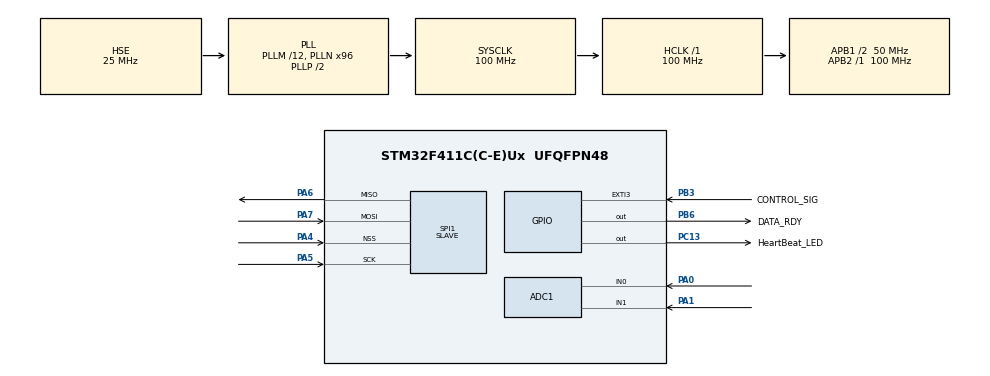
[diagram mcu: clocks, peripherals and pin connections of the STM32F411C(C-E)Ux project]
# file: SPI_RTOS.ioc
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ADC1.Channel-0\#ChannelRegularConversion=ADC_CHANNEL_0
ADC1.Channel-1\#ChannelRegularConversion=ADC_CHANNEL_1
ADC1.ContinuousConvMode=DISABLE
ADC1.DMAContinuousRequests=ENABLE
ADC1.ExternalTrigConv=ADC_EXTERNALTRIGCONV_T3_TRGO
ADC1.NbrOfConversion=2
ADC1.NbrOfConversionFlag=1
ADC1.Rank-0\#ChannelRegularConversion=1
ADC1.Rank-1\#ChannelRegularConversion=2
ADC1.SamplingTime-0\#ChannelRegularConversion=ADC_SAMPLETIME_15CYCLES
ADC1.SamplingTime-1\#ChannelRegularConversion=ADC_SAMPLETIME_15CYCLES
ADC1.master=1
Dma.ADC1.0.Direction=DMA_PERIPH_TO_MEMORY
Dma.ADC1.0.FIFOMode=DMA_FIFOMODE_DISABLE
Dma.ADC1.0.Instance=DMA2_Stream0
Dma.ADC1.0.MemDataAlignment=DMA_MDATAALIGN_HALFWORD
Dma.ADC1.0.MemInc=DMA_MINC_ENABLE
Dma.ADC1.0.Mode=DMA_CIRCULAR
Dma.ADC1.0.PeriphDataAlignment=DMA_PDATAALIGN_HALFWORD
Dma.ADC1.0.PeriphInc=DMA_PINC_DISABLE
Dma.ADC1.0.Priority=DMA_PRIORITY_VERY_HIGH
Dma.Request0=ADC1
Dma.Request1=SPI1_TX
Dma.SPI1_TX.1.Direction=DMA_MEMORY_TO_PERIPH
Dma.SPI1_TX.1.FIFOMode=DMA_FIFOMODE_DISABLE
Dma.SPI1_TX.1.Instance=DMA2_Stream2
Dma.SPI1_TX.1.MemDataAlignment=DMA_MDATAALIGN_HALFWORD
Dma.SPI1_TX.1.MemInc=DMA_MINC_ENABLE
Dma.SPI1_TX.1.Mode=DMA_NORMAL
Dma.SPI1_TX.1.PeriphDataAlignment=DMA_PDATAALIGN_HALFWORD
Dma.SPI1_TX.1.PeriphInc=DMA_PINC_DISABLE
Dma.SPI1_TX.1.Priority=DMA_PRIORITY_VERY_HIGH
FREERTOS.BinarySemaphores01=SpiTxSem,Dynamic,NULL,Available;EXTISem,Dynamic,NULL,Available
FREERTOS.Mutexes01=FlagKeyMtx,Dynamic,NULL,Available
FREERTOS.Tasks01=SPI_TRANS_TASK,40,128,StartDefaultTask,Default,NULL,Dynamic,NULL,NULL;CONTROL_TASK,32,128,Control_Mode,Default,NULL,Dynamic,NULL,NULL
FREERTOS.configUSE_NEWLIB_REENTRANT=1
Mcu.Family=STM32F4
Mcu.Name=STM32F411C(C-E)Ux
Mcu.Package=UFQFPN48
NVIC.ADC_IRQn=true\:5\:0\:false\:false\:true\:true\:true\:true\:true
NVIC.DMA2_Stream0_IRQn=true\:5\:0\:false\:false\:true\:true\:false\:true\:true
NVIC.DMA2_Stream2_IRQn=true\:5\:0\:false\:false\:true\:true\:false\:true\:true
NVIC.EXTI3_IRQn=true\:5\:0\:false\:false\:true\:true\:true\:true\:true
NVIC.PriorityGroup=NVIC_PRIORITYGROUP_4
NVIC.SPI1_IRQn=true\:5\:0\:false\:false\:true\:true\:true\:true\:true
NVIC.TIM1_TRG_COM_TIM11_IRQn=true\:15\:0\:false\:false\:true\:false\:false\:true\:true
NVIC.TIM3_IRQn=true\:5\:0\:false\:false\:true\:true\:true\:true\:true
NVIC.TimeBase=TIM1_TRG_COM_TIM11_IRQn
NVIC.TimeBaseIP=TIM11
PA0-WKUP.Signal=ADCx_IN0
PA1.Signal=ADCx_IN1
PA13.Mode=Serial_Wire
PA13.Signal=SYS_JTMS-SWDIO
PA14.Mode=Serial_Wire
PA14.Signal=SYS_JTCK-SWCLK
PA4.Mode=NSS_Signal_Hard_Input
PA4.Signal=SPI1_NSS
PA5.Mode=Full_Duplex_Slave
PA5.Signal=SPI1_SCK
PA6.Mode=Full_Duplex_Slave
PA6.Signal=SPI1_MISO
PA7.Mode=Full_Duplex_Slave
PA7.Signal=SPI1_MOSI
PB3.GPIO_Label=CONTROL_SIG
PB3.GPIO_ModeDefaultEXTI=GPIO_MODE_IT_FALLING
PB3.GPIO_PuPd=GPIO_PULLUP
PB3.Signal=GPXTI3
PB6.GPIO_Label=DATA_RDY
PB6.GPIO_PuPd=GPIO_PULLDOWN
PB6.Signal=GPIO_Output
PC13-ANTI_TAMP.GPIO_Label=HeartBeat_LED
PC13-ANTI_TAMP.GPIO_PuPd=GPIO_PULLUP
PC13-ANTI_TAMP.Signal=GPIO_Output
PH0\ -\ OSC_IN.Mode=HSE-External-Oscillator
PH0\ -\ OSC_IN.Signal=RCC_OSC_IN
PH1\ -\ OSC_OUT.Mode=HSE-External-Oscillator
PH1\ -\ OSC_OUT.Signal=RCC_OSC_OUT
ProjectManager.HeapSize=0x200
ProjectManager.StackSize=0x400
ProjectManager.TargetToolchain=STM32CubeIDE
RCC.48MHZClocksFreq_Value=50000000
RCC.AHBFreq_Value=100000000
RCC.APB1CLKDivider=RCC_HCLK_DIV2
RCC.APB1Freq_Value=50000000
RCC.APB1TimFreq_Value=100000000
RCC.APB2Freq_Value=100000000
RCC.APB2TimFreq_Value=100000000
RCC.CortexFreq_Value=100000000
RCC.HCLKFreq_Value=100000000
RCC.HSE_VALUE=25000000
RCC.HSI_VALUE=16000000
RCC.LSE_VALUE=32768
RCC.PLLM=12
RCC.PLLN=96
RCC.PLLSourceVirtual=RCC_PLLSOURCE_HSE
RCC.SYSCLKFreq_VALUE=100000000
RCC.SYSCLKSource=RCC_SYSCLKSOURCE_PLLCLK
RCC.VCOOutputFreq_Value=200000000
SH.ADCx_IN0.0=ADC1_IN0,IN0
SH.ADCx_IN1.0=ADC1_IN1,IN1
SPI1.DataSize=SPI_DATASIZE_16BIT
SPI1.Direction=SPI_DIRECTION_2LINES
SPI1.Mode=SPI_MODE_SLAVE
SPI1.VirtualNSS=VM_NSSHARD
SPI1.VirtualType=VM_SLAVE
TIM3.Period=249
TIM3.TIM_MasterOutputTrigger=TIM_TRGO_UPDATE
VP_FREERTOS_VS_CMSIS_V2.Mode=CMSIS_V2
VP_SYS_VS_tim11.Mode=TIM11
VP_TIM3_VS_ClockSourceINT.Mode=Internal
board=custom

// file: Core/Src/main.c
/* USER CODE BEGIN Header */
/**
  ******************************************************************************
  * @file           : main.c
  * @brief          : Main program body
  ******************************************************************************
  * @attention
  *
  * Copyright (c) 2026 STMicroelectronics.
  * All rights reserved.
  *
  * This software is licensed under terms that can be found in the LICENSE file
  * in the root directory of this software component.
  * If no LICENSE file comes with this software, it is provided AS-IS.
  *
  ******************************************************************************
  */
/* USER CODE END Header */
#include "main.h"
#include "cmsis_os.h"

/* USER CODE BEGIN Includes */
#include "adc_set_mode.h"

/* USER CODE END Includes */

/* USER CODE BEGIN PD */
#define BUFFER_SIZE 4096 //ADC BUFFER SIZE
#define HALF_BUFFER_SIZE BUFFER_SIZE/2 //ADC BUFFER HALF SIZE
/* USER CODE END PD */

ADC_HandleTypeDef hadc1;
DMA_HandleTypeDef hdma_adc1;

SPI_HandleTypeDef hspi1;
DMA_HandleTypeDef hdma_spi1_tx;

TIM_HandleTypeDef htim3;

/* Definitions for SPI_TRANS_TASK */
osThreadId_t SPI_TRANS_TASKHandle;
const osThreadAttr_t SPI_TRANS_TASK_attributes = {
  .name = "SPI_TRANS_TASK",
  .stack_size = 128 * 4,
  .priority = (osPriority_t) osPriorityHigh,
};
/* Definitions for CONTROL_TASK */
osThreadId_t CONTROL_TASKHandle;
const osThreadAttr_t CONTROL_TASK_attributes = {
  .name = "CONTROL_TASK",
  .stack_size = 128 * 4,
  .priority = (osPriority_t) osPriorityAboveNormal,
};
/* Definitions for FlagKeyMtx */
osMutexId_t FlagKeyMtxHandle;
const osMutexAttr_t FlagKeyMtx_attributes = {
  .name = "FlagKeyMtx"
};
/* Definitions for SpiTxSem */
osSemaphoreId_t SpiTxSemHandle;
const osSemaphoreAttr_t SpiTxSem_attributes = {
  .name = "SpiTxSem"
};
/* Definitions for EXTISem */
osSemaphoreId_t EXTISemHandle;
const osSemaphoreAttr_t EXTISem_attributes = {
  .name = "EXTISem"
};
/* USER CODE BEGIN PV */
uint16_t buffer [BUFFER_SIZE]; //ADC BUFFER
volatile SPI_Transfer_Mode_t spi_transfer_flag = READY_STATUS;
uint16_t spi_status = 0; //for debug
/* USER CODE END PV */

void SystemClock_Config(void);
static void MX_GPIO_Init(void);
static void MX_DMA_Init(void);
static void MX_ADC1_Init(void);
static void MX_SPI1_Init(void);
static void MX_TIM3_Init(void);
void StartDefaultTask(void *argument);
void Control_Mode(void *argument);

int main(void)
{

  /* MCU Configuration--------------------------------------------------------*/

  /* Reset of all peripherals, Initializes the Flash interface and the Systick. */
  HAL_Init();

  /* Configure the system clock */
  SystemClock_Config();

  /* Initialize all configured peripherals */
  MX_GPIO_Init();
  MX_DMA_Init();
  MX_ADC1_Init();
  MX_SPI1_Init();
  MX_TIM3_Init();
  /* USER CODE BEGIN 2 */
  HAL_TIM_Base_Start(&htim3);
  HAL_GPIO_WritePin(HeartBeat_LED_GPIO_Port, HeartBeat_LED_Pin, GPIO_PIN_SET);
  HAL_GPIO_WritePin(DATA_RDY_GPIO_Port, DATA_RDY_Pin, GPIO_PIN_RESET);

  /* USER CODE END 2 */

  /* Init scheduler */
  osKernelInitialize();
  /* Create the mutex(es) */
  /* creation of FlagKeyMtx */
  FlagKeyMtxHandle = osMutexNew(&FlagKeyMtx_attributes);

  /* Create the semaphores(s) */
  /* creation of SpiTxSem */
  SpiTxSemHandle = osSemaphoreNew(1, 1, &SpiTxSem_attributes);

  /* creation of EXTISem */
  EXTISemHandle = osSemaphoreNew(1, 1, &EXTISem_attributes);

  /* Create the thread(s) */
  /* creation of SPI_TRANS_TASK */
  SPI_TRANS_TASKHandle = osThreadNew(StartDefaultTask, NULL, &SPI_TRANS_TASK_attributes);

  /* creation of CONTROL_TASK */
  CONTROL_TASKHandle = osThreadNew(Control_Mode, NULL, &CONTROL_TASK_attributes);

  /* Start scheduler */
  osKernelStart();

  /* We should never get here as control is now taken by the scheduler */

  /* Infinite loop */
  while (1)
  {

  }
}

void SystemClock_Config(void)
{
  RCC_OscInitTypeDef RCC_OscInitStruct = {0};
  RCC_ClkInitTypeDef RCC_ClkInitStruct = {0};

  /** Configure the main internal regulator output voltage
  */
  __HAL_RCC_PWR_CLK_ENABLE();
  __HAL_PWR_VOLTAGESCALING_CONFIG(PWR_REGULATOR_VOLTAGE_SCALE1);

  /** Initializes the RCC Oscillators according to the specified parameters
  * in the RCC_OscInitTypeDef structure.
  */
  RCC_OscInitStruct.OscillatorType = RCC_OSCILLATORTYPE_HSE;
  RCC_OscInitStruct.HSEState = RCC_HSE_ON;
  RCC_OscInitStruct.PLL.PLLState = RCC_PLL_ON;
  RCC_OscInitStruct.PLL.PLLSource = RCC_PLLSOURCE_HSE;
  RCC_OscInitStruct.PLL.PLLM = 12;
  RCC_OscInitStruct.PLL.PLLN = 96;
  RCC_OscInitStruct.PLL.PLLP = RCC_PLLP_DIV2;
  RCC_OscInitStruct.PLL.PLLQ = 4;
  if (HAL_RCC_OscConfig(&RCC_OscInitStruct) != HAL_OK)
  {
    Error_Handler();
  }

  /** Initializes the CPU, AHB and APB buses clocks
  */
  RCC_ClkInitStruct.ClockType = RCC_CLOCKTYPE_HCLK|RCC_CLOCKTYPE_SYSCLK
                              |RCC_CLOCKTYPE_PCLK1|RCC_CLOCKTYPE_PCLK2;
  RCC_ClkInitStruct.SYSCLKSource = RCC_SYSCLKSOURCE_PLLCLK;
  RCC_ClkInitStruct.AHBCLKDivider = RCC_SYSCLK_DIV1;
  RCC_ClkInitStruct.APB1CLKDivider = RCC_HCLK_DIV2;
  RCC_ClkInitStruct.APB2CLKDivider = RCC_HCLK_DIV1;

  if (HAL_RCC_ClockConfig(&RCC_ClkInitStruct, FLASH_LATENCY_3) != HAL_OK)
  {
    Error_Handler();
  }
}

static void MX_ADC1_Init(void)
{

  ADC_ChannelConfTypeDef sConfig = {0};

  /** Configure the global features of the ADC (Clock, Resolution, Data Alignment and number of conversion)
  */
  hadc1.Instance = ADC1;
  hadc1.Init.ClockPrescaler = ADC_CLOCK_SYNC_PCLK_DIV4;
  hadc1.Init.Resolution = ADC_RESOLUTION_12B;
  hadc1.Init.ScanConvMode = ENABLE;
  hadc1.Init.ContinuousConvMode = DISABLE;
  hadc1.Init.DiscontinuousConvMode = DISABLE;
  hadc1.Init.ExternalTrigConvEdge = ADC_EXTERNALTRIGCONVEDGE_RISING;
  hadc1.Init.ExternalTrigConv = ADC_EXTERNALTRIGCONV_T3_TRGO;
  hadc1.Init.DataAlign = ADC_DATAALIGN_RIGHT;
  hadc1.Init.NbrOfConversion = 2;
  hadc1.Init.DMAContinuousRequests = ENABLE;
  hadc1.Init.EOCSelection = ADC_EOC_SINGLE_CONV;
  if (HAL_ADC_Init(&hadc1) != HAL_OK)
  {
    Error_Handler();
  }

  /** Configure for the selected ADC regular channel its corresponding rank in the sequencer and its sample time.
  */
  sConfig.Channel = ADC_CHANNEL_0;
  sConfig.Rank = 1;
  sConfig.SamplingTime = ADC_SAMPLETIME_15CYCLES;
  if (HAL_ADC_ConfigChannel(&hadc1, &sConfig) != HAL_OK)
  {
    Error_Handler();
  }

  /** Configure for the selected ADC regular channel its corresponding rank in the sequencer and its sample time.
  */
  sConfig.Channel = ADC_CHANNEL_1;
  sConfig.Rank = 2;
  if (HAL_ADC_ConfigChannel(&hadc1, &sConfig) != HAL_OK)
  {
    Error_Handler();
  }

}

static void MX_SPI1_Init(void)
{

  /* SPI1 parameter configuration*/
  hspi1.Instance = SPI1;
  hspi1.Init.Mode = SPI_MODE_SLAVE;
  hspi1.Init.Direction = SPI_DIRECTION_2LINES;
  hspi1.Init.DataSize = SPI_DATASIZE_16BIT;
  hspi1.Init.CLKPolarity = SPI_POLARITY_LOW;
  hspi1.Init.CLKPhase = SPI_PHASE_1EDGE;
  hspi1.Init.NSS = SPI_NSS_HARD_INPUT;
  hspi1.Init.FirstBit = SPI_FIRSTBIT_MSB;
  hspi1.Init.TIMode = SPI_TIMODE_DISABLE;
  hspi1.Init.CRCCalculation = SPI_CRCCALCULATION_DISABLE;
  hspi1.Init.CRCPolynomial = 10;
  if (HAL_SPI_Init(&hspi1) != HAL_OK)
  {
    Error_Handler();
  }

}

static void MX_TIM3_Init(void)
{

  TIM_ClockConfigTypeDef sClockSourceConfig = {0};
  TIM_MasterConfigTypeDef sMasterConfig = {0};

  htim3.Instance = TIM3;
  htim3.Init.Prescaler = 0;
  htim3.Init.CounterMode = TIM_COUNTERMODE_UP;
  htim3.Init.Period = 249;
  htim3.Init.ClockDivision = TIM_CLOCKDIVISION_DIV1;
  htim3.Init.AutoReloadPreload = TIM_AUTORELOAD_PRELOAD_DISABLE;
  if (HAL_TIM_Base_Init(&htim3) != HAL_OK)
  {
    Error_Handler();
  }
  sClockSourceConfig.ClockSource = TIM_CLOCKSOURCE_INTERNAL;
  if (HAL_TIM_ConfigClockSource(&htim3, &sClockSourceConfig) != HAL_OK)
  {
    Error_Handler();
  }
  sMasterConfig.MasterOutputTrigger = TIM_TRGO_UPDATE;
  sMasterConfig.MasterSlaveMode = TIM_MASTERSLAVEMODE_DISABLE;
  if (HAL_TIMEx_MasterConfigSynchronization(&htim3, &sMasterConfig) != HAL_OK)
  {
    Error_Handler();
  }

}

static void MX_DMA_Init(void)
{

  /* DMA controller clock enable */
  __HAL_RCC_DMA2_CLK_ENABLE();

  /* DMA interrupt init */
  /* DMA2_Stream0_IRQn interrupt configuration */
  HAL_NVIC_SetPriority(DMA2_Stream0_IRQn, 5, 0);
  HAL_NVIC_EnableIRQ(DMA2_Stream0_IRQn);
  /* DMA2_Stream2_IRQn interrupt configuration */
  HAL_NVIC_SetPriority(DMA2_Stream2_IRQn, 5, 0);
  HAL_NVIC_EnableIRQ(DMA2_Stream2_IRQn);

}

static void MX_GPIO_Init(void)
{
  GPIO_InitTypeDef GPIO_InitStruct = {0};

  /* GPIO Ports Clock Enable */
  __HAL_RCC_GPIOC_CLK_ENABLE();
  __HAL_RCC_GPIOH_CLK_ENABLE();
  __HAL_RCC_GPIOA_CLK_ENABLE();
  __HAL_RCC_GPIOB_CLK_ENABLE();

  /*Configure GPIO pin Output Level */
  HAL_GPIO_WritePin(HeartBeat_LED_GPIO_Port, HeartBeat_LED_Pin, GPIO_PIN_RESET);

  /*Configure GPIO pin Output Level */
  HAL_GPIO_WritePin(DATA_RDY_GPIO_Port, DATA_RDY_Pin, GPIO_PIN_RESET);

  /*Configure GPIO pin : HeartBeat_LED_Pin */
  GPIO_InitStruct.Pin = HeartBeat_LED_Pin;
  GPIO_InitStruct.Mode = GPIO_MODE_OUTPUT_PP;
  GPIO_InitStruct.Pull = GPIO_PULLUP;
  GPIO_InitStruct.Speed = GPIO_SPEED_FREQ_LOW;
  HAL_GPIO_Init(HeartBeat_LED_GPIO_Port, &GPIO_InitStruct);

  /*Configure GPIO pin : CONTROL_SIG_Pin */
  GPIO_InitStruct.Pin = CONTROL_SIG_Pin;
  GPIO_InitStruct.Mode = GPIO_MODE_IT_FALLING;
  GPIO_InitStruct.Pull = GPIO_PULLUP;
  HAL_GPIO_Init(CONTROL_SIG_GPIO_Port, &GPIO_InitStruct);

  /*Configure GPIO pin : DATA_RDY_Pin */
  GPIO_InitStruct.Pin = DATA_RDY_Pin;
  GPIO_InitStruct.Mode = GPIO_MODE_OUTPUT_PP;
  GPIO_InitStruct.Pull = GPIO_PULLDOWN;
  GPIO_InitStruct.Speed = GPIO_SPEED_FREQ_LOW;
  HAL_GPIO_Init(DATA_RDY_GPIO_Port, &GPIO_InitStruct);

  /* EXTI interrupt init*/
  HAL_NVIC_SetPriority(EXTI3_IRQn, 5, 0);
  HAL_NVIC_EnableIRQ(EXTI3_IRQn);

}

/* USER CODE BEGIN 4 */
void HAL_ADC_ConvHalfCpltCallback(ADC_HandleTypeDef* hadc) {
	spi_transfer_flag = SPI_HALF_TRANSFER;
	osSemaphoreRelease(SpiTxSemHandle);
}

void HAL_ADC_ConvCpltCallback(ADC_HandleTypeDef* hadc) {
	spi_transfer_flag = SPI_FULL_TRANSFER;
	osSemaphoreRelease(SpiTxSemHandle);
}

void HAL_GPIO_EXTI_Callback(uint16_t GPIO_Pin) {
	if (GPIO_Pin == CONTROL_SIG_Pin) {
		osSemaphoreRelease(EXTISemHandle);
	}
}
/* USER CODE END 4 */

void StartDefaultTask(void *argument)
{
  /* USER CODE BEGIN 5 */
  /* Infinite loop */
  for(;;)
  {
	  /* Semaphore Check */
	  if(osSemaphoreAcquire(SpiTxSemHandle, osWaitForever) != osOK) {
		  continue;
	  }

	  /* Disable  ADC Mode Change Task */
	  if(osMutexAcquire(FlagKeyMtxHandle, osWaitForever) != osOK) {
		  continue;
	  }

	  /* Check SPI STATUS / For Debug (spi over run check) */
	  if(hspi1.State == HAL_SPI_STATE_BUSY_TX) {
		  spi_status +=1;
		  osMutexRelease(FlagKeyMtxHandle);
		  continue;
	  }

	  /*
	   *  Check Condition & Transmit BUFFER
	   *
	   * Since hspi1 DataSize is 16 bits,
	   * the length refers to the “number of data items”
	   *
	   * */

	  if (spi_transfer_flag == SPI_HALF_TRANSFER) {
		  HAL_GPIO_TogglePin(DATA_RDY_GPIO_Port, DATA_RDY_Pin);
		  HAL_SPI_Transmit_DMA(&hspi1, (uint8_t *)buffer, BUFFER_SIZE/2);

	  } else if (spi_transfer_flag == SPI_FULL_TRANSFER) {
		  HAL_GPIO_TogglePin(DATA_RDY_GPIO_Port, DATA_RDY_Pin);
		  HAL_SPI_Transmit_DMA(&hspi1, (uint8_t *)&buffer[HALF_BUFFER_SIZE], BUFFER_SIZE/2);
	  }

	  /* return mutex */
	  osMutexRelease(FlagKeyMtxHandle);
  }
  /* USER CODE END 5 */
}

void Control_Mode(void *argument)
{
  /* USER CODE BEGIN Control_Mode */
  /* Infinite loop */

	static uint16_t mode = ADC_MODE_STOP; //Variable for saving mode
  for(;;)
  {

	  /* Semaphore Check */
	  if (osSemaphoreAcquire(EXTISemHandle, osWaitForever) != osOK) {
		  continue;
	  }

	  /* get permission for change adc mode */
	  if (osMutexAcquire(FlagKeyMtxHandle, osWaitForever) != osOK){
		  continue;
	  }

	  /* 1. get adc mode from master */
	  get_adc_mode(&mode);

	  /* 2. and change adc mode */
	  set_adc_mode(mode, buffer, BUFFER_SIZE);
	  spi_status = 0; //for debug
	  /* return mutex */
	  osMutexRelease(FlagKeyMtxHandle);
  }
  /* USER CODE END Control_Mode */
}

void HAL_TIM_PeriodElapsedCallback(TIM_HandleTypeDef *htim)
{
  if (htim->Instance == TIM11)
  {
    HAL_IncTick();
  }
}

void Error_Handler(void)
{
  __disable_irq();
  while (1)
  {
  }
}
